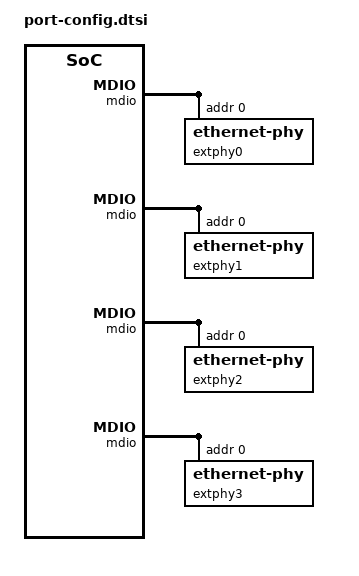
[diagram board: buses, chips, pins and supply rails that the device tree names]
// SPDX-License-Identifier: MIT
// Copyright (C) 2026, Opsero Electronic Design Inc.  All rights reserved.

/*
 * Ethernet FMC port config: all 4 ports (ports-0123).
 *
 * Binds each Taxi RGMII MAC port to the taxi_mac Linux driver
 * (Linux/taxi-mac, compatible "opsero,taxi-rgmii-mac-1.0") and wires the
 * external Ethernet FMC PHY onto it. The taxi_rgmii_mac_N (module reference)
 * and axi_dma_N nodes themselves come from the SDT's pl.dtsi (generated from
 * the XSA); this overlay adds what the XSA does not carry:
 *
 *   compatible          the taxi_mac driver's binding (overrides the generic
 *                       "xlnx,taxi-rgmii-mac-1.0" that sdtgen emits for a
 *                       module reference)
 *   dmas / dma-names    the port's AXI DMA: channel 0 = MM2S (tx),
 *                       channel 1 = S2MM (rx)
 *   local-mac-address   00:0a:35:06:21:05..08 (board MAC 00:0a:35:06:21:04
 *                       + 1..4, see bsp/zcu104 board-user.dtsi)
 *   phy-mode            rgmii-rxid: the MAC drives the TX clock 90 deg late
 *                       (gtx_clk90), the PHY adds the RX delay
 *   phy-handle / mdio   the Marvell 88E1510 at address 0 on the port's own
 *                       MDIO bus (each MAC has its own MDIO master)
 *
 * Selected per target by the bsp/port-configs/ports-0123 overlay layer.
 */

&taxi_rgmii_mac_0 {
	compatible = "opsero,taxi-rgmii-mac-1.0";
	dmas = <&axi_dma_0 0>, <&axi_dma_0 1>;
	dma-names = "tx", "rx";
	phy-mode = "rgmii-rxid";
	phy-handle = <&extphy0>;
	local-mac-address = [00 0a 35 06 21 05];
	mdio {
		#address-cells = <1>;
		#size-cells = <0>;
		extphy0: ethernet-phy@0 {
			reg = <0>;
		};
	};
};

&taxi_rgmii_mac_1 {
	compatible = "opsero,taxi-rgmii-mac-1.0";
	dmas = <&axi_dma_1 0>, <&axi_dma_1 1>;
	dma-names = "tx", "rx";
	phy-mode = "rgmii-rxid";
	phy-handle = <&extphy1>;
	local-mac-address = [00 0a 35 06 21 06];
	mdio {
		#address-cells = <1>;
		#size-cells = <0>;
		extphy1: ethernet-phy@0 {
			reg = <0>;
		};
	};
};

&taxi_rgmii_mac_2 {
	compatible = "opsero,taxi-rgmii-mac-1.0";
	dmas = <&axi_dma_2 0>, <&axi_dma_2 1>;
	dma-names = "tx", "rx";
	phy-mode = "rgmii-rxid";
	phy-handle = <&extphy2>;
	local-mac-address = [00 0a 35 06 21 07];
	mdio {
		#address-cells = <1>;
		#size-cells = <0>;
		extphy2: ethernet-phy@0 {
			reg = <0>;
		};
	};
};

&taxi_rgmii_mac_3 {
	compatible = "opsero,taxi-rgmii-mac-1.0";
	dmas = <&axi_dma_3 0>, <&axi_dma_3 1>;
	dma-names = "tx", "rx";
	phy-mode = "rgmii-rxid";
	phy-handle = <&extphy3>;
	local-mac-address = [00 0a 35 06 21 08];
	mdio {
		#address-cells = <1>;
		#size-cells = <0>;
		extphy3: ethernet-phy@0 {
			reg = <0>;
		};
	};
};

/*
 * AXI DMA S2MM (rx) channels: the taxi_mac driver keeps 128 RX buffers
 * outstanding on the S2MM channel and the xilinx_dma driver sets its
 * interrupt-coalescing threshold to the number of pending descriptors, so the
 * RX completion IRQ would only fire once 128 frames had arrived. A non-zero
 * xlnx,irq-delay (1 = 125 SG-clock cycles) makes the engine raise the IRQ on
 * the delay timer as well, i.e. after every frame burst. The channel nodes are
 * generated by sdtgen as dma_channel_<8-hex address> children of axi_dma_N;
 * the S2MM channel sits at the DMA base + 0x30 (axi_dma_N at
 * 0xA0010000 + N * 0x10000 in this design).
 */
&dma_channel_a0010030 {
	xlnx,irq-delay = /bits/ 8 <1>;
};

&dma_channel_a0020030 {
	xlnx,irq-delay = /bits/ 8 <1>;
};

&dma_channel_a0030030 {
	xlnx,irq-delay = /bits/ 8 <1>;
};

&dma_channel_a0040030 {
	xlnx,irq-delay = /bits/ 8 <1>;
};
